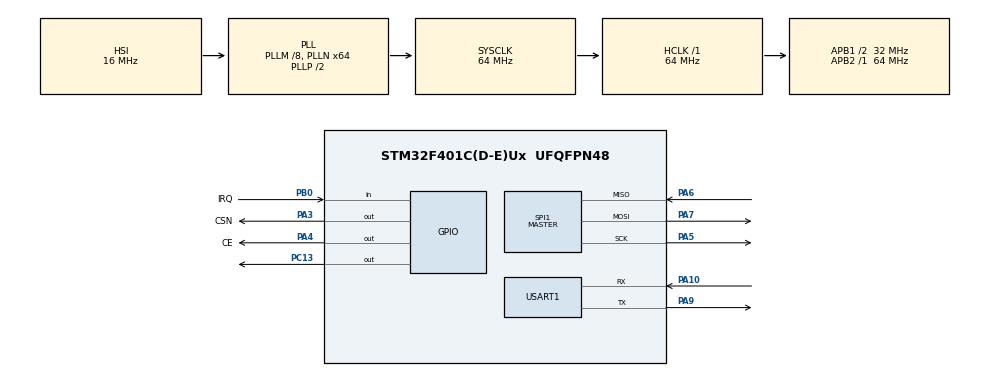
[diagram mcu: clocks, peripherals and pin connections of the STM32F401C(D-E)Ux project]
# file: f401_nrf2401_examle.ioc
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Mcu.Family=STM32F4
Mcu.Name=STM32F401C(D-E)Ux
Mcu.Package=UFQFPN48
NVIC.PriorityGroup=NVIC_PRIORITYGROUP_4
PA10.Mode=Asynchronous
PA10.Signal=USART1_RX
PA13.Mode=Serial_Wire
PA13.Signal=SYS_JTMS-SWDIO
PA14.Mode=Serial_Wire
PA14.Signal=SYS_JTCK-SWCLK
PA3.GPIO_Label=CSN
PA3.Signal=GPIO_Output
PA4.GPIO_Label=CE
PA4.Signal=GPIO_Output
PA5.Mode=Full_Duplex_Master
PA5.Signal=SPI1_SCK
PA6.Mode=Full_Duplex_Master
PA6.Signal=SPI1_MISO
PA7.Mode=Full_Duplex_Master
PA7.Signal=SPI1_MOSI
PA9.Mode=Asynchronous
PA9.Signal=USART1_TX
PB0.GPIO_Label=IRQ
PB0.Signal=GPIO_Input
PC13-ANTI_TAMP.Signal=GPIO_Output
ProjectManager.HeapSize=0x200
ProjectManager.StackSize=0x400
ProjectManager.TargetToolchain=STM32CubeIDE
RCC.48MHZClocksFreq_Value=32000000
RCC.AHBFreq_Value=64000000
RCC.APB1CLKDivider=RCC_HCLK_DIV2
RCC.APB1Freq_Value=32000000
RCC.APB1TimFreq_Value=64000000
RCC.APB2Freq_Value=64000000
RCC.APB2TimFreq_Value=64000000
RCC.CortexFreq_Value=64000000
RCC.HCLKFreq_Value=64000000
RCC.HSE_VALUE=25000000
RCC.HSI_VALUE=16000000
RCC.LSE_VALUE=32768
RCC.PLLM=8
RCC.PLLN=64
RCC.SYSCLKFreq_VALUE=64000000
RCC.SYSCLKSource=RCC_SYSCLKSOURCE_PLLCLK
RCC.VCOOutputFreq_Value=128000000
SPI1.BaudRatePrescaler=SPI_BAUDRATEPRESCALER_32
SPI1.Direction=SPI_DIRECTION_2LINES
SPI1.Mode=SPI_MODE_MASTER
SPI1.VirtualType=VM_MASTER
USART1.VirtualMode=VM_ASYNC
board=custom

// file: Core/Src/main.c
/* USER CODE BEGIN Header */
/**
 ******************************************************************************
 * @file           : main.c
 * @brief          : Main program body
 ******************************************************************************
 * @attention
 *
 * <h2><center>&copy; Copyright (c) 2023 STMicroelectronics.
 * All rights reserved.</center></h2>
 *
 * This software component is licensed by ST under BSD 3-Clause license,
 * the "License"; You may not use this file except in compliance with the
 * License. You may obtain a copy of the License at:
 *                        opensource.org/licenses/BSD-3-Clause
 *
 ******************************************************************************
 */
/* USER CODE END Header */
#include "main.h"

/* USER CODE BEGIN Includes */
#include "NRF24L01/NRF24.h"

#include <string.h>
/* USER CODE END Includes */

SPI_HandleTypeDef hspi1;

UART_HandleTypeDef huart1;

/* USER CODE BEGIN PV */
uint64_t RxpipeAddrs = 0x11223344AA;
char myRxData[50];
char myAckPayload[32] = "Ack by STMF4!";
/* USER CODE END PV */

void SystemClock_Config(void);
static void MX_GPIO_Init(void);
static void MX_SPI1_Init(void);
static void MX_USART1_UART_Init(void);

int main(void) {

	/* MCU Configuration--------------------------------------------------------*/

	/* Reset of all peripherals, Initializes the Flash interface and the Systick. */
	HAL_Init();

	/* Configure the system clock */
	SystemClock_Config();

	/* Initialize all configured peripherals */
	MX_GPIO_Init();
	MX_SPI1_Init();
	MX_USART1_UART_Init();
	/* USER CODE BEGIN 2 */
	NRF24_begin(GPIOA, GPIO_PIN_3, GPIO_PIN_4, hspi1);
	nrf24_DebugUART_Init(huart1);

	NRF24_setAutoAck(true);
	NRF24_setDataRate(RF24_250KBPS);
	NRF24_setChannel(52);
	NRF24_setPayloadSize(32);
	NRF24_openReadingPipe(1, RxpipeAddrs);
	NRF24_enableDynamicPayloads();
	NRF24_enableAckPayload();
	printRadioSettings();
	NRF24_startListening();
	/* USER CODE END 2 */

	/* Infinite loop */
	/* USER CODE BEGIN WHILE */
	while (1) {
		if (NRF24_available()) {
			NRF24_read(myRxData, 32);
			NRF24_writeAckPayload(1, myAckPayload, 32);
			myRxData[32] = '\r';
			myRxData[32 + 1] = '\n';
			HAL_UART_Transmit(&huart1, (uint8_t*) myRxData, 32 + 2, 10);
		}
	}
	/* USER CODE END WHILE */

}

void SystemClock_Config(void) {
	RCC_OscInitTypeDef RCC_OscInitStruct = { 0 };
	RCC_ClkInitTypeDef RCC_ClkInitStruct = { 0 };

	/** Configure the main internal regulator output voltage
	 */
	__HAL_RCC_PWR_CLK_ENABLE();
	__HAL_PWR_VOLTAGESCALING_CONFIG(PWR_REGULATOR_VOLTAGE_SCALE2);
	/** Initializes the RCC Oscillators according to the specified parameters
	 * in the RCC_OscInitTypeDef structure.
	 */
	RCC_OscInitStruct.OscillatorType = RCC_OSCILLATORTYPE_HSI;
	RCC_OscInitStruct.HSIState = RCC_HSI_ON;
	RCC_OscInitStruct.HSICalibrationValue = RCC_HSICALIBRATION_DEFAULT;
	RCC_OscInitStruct.PLL.PLLState = RCC_PLL_ON;
	RCC_OscInitStruct.PLL.PLLSource = RCC_PLLSOURCE_HSI;
	RCC_OscInitStruct.PLL.PLLM = 8;
	RCC_OscInitStruct.PLL.PLLN = 64;
	RCC_OscInitStruct.PLL.PLLP = RCC_PLLP_DIV2;
	RCC_OscInitStruct.PLL.PLLQ = 4;
	if (HAL_RCC_OscConfig(&RCC_OscInitStruct) != HAL_OK) {
		Error_Handler();
	}
	/** Initializes the CPU, AHB and APB buses clocks
	 */
	RCC_ClkInitStruct.ClockType = RCC_CLOCKTYPE_HCLK | RCC_CLOCKTYPE_SYSCLK
			| RCC_CLOCKTYPE_PCLK1 | RCC_CLOCKTYPE_PCLK2;
	RCC_ClkInitStruct.SYSCLKSource = RCC_SYSCLKSOURCE_PLLCLK;
	RCC_ClkInitStruct.AHBCLKDivider = RCC_SYSCLK_DIV1;
	RCC_ClkInitStruct.APB1CLKDivider = RCC_HCLK_DIV2;
	RCC_ClkInitStruct.APB2CLKDivider = RCC_HCLK_DIV1;

	if (HAL_RCC_ClockConfig(&RCC_ClkInitStruct, FLASH_LATENCY_2) != HAL_OK) {
		Error_Handler();
	}
}

static void MX_SPI1_Init(void) {

	/* SPI1 parameter configuration*/
	hspi1.Instance = SPI1;
	hspi1.Init.Mode = SPI_MODE_MASTER;
	hspi1.Init.Direction = SPI_DIRECTION_2LINES;
	hspi1.Init.DataSize = SPI_DATASIZE_8BIT;
	hspi1.Init.CLKPolarity = SPI_POLARITY_LOW;
	hspi1.Init.CLKPhase = SPI_PHASE_1EDGE;
	hspi1.Init.NSS = SPI_NSS_SOFT;
	hspi1.Init.BaudRatePrescaler = SPI_BAUDRATEPRESCALER_32;
	hspi1.Init.FirstBit = SPI_FIRSTBIT_MSB;
	hspi1.Init.TIMode = SPI_TIMODE_DISABLE;
	hspi1.Init.CRCCalculation = SPI_CRCCALCULATION_DISABLE;
	hspi1.Init.CRCPolynomial = 10;
	if (HAL_SPI_Init(&hspi1) != HAL_OK) {
		Error_Handler();
	}

}

static void MX_USART1_UART_Init(void) {

	huart1.Instance = USART1;
	huart1.Init.BaudRate = 115200;
	huart1.Init.WordLength = UART_WORDLENGTH_8B;
	huart1.Init.StopBits = UART_STOPBITS_1;
	huart1.Init.Parity = UART_PARITY_NONE;
	huart1.Init.Mode = UART_MODE_TX_RX;
	huart1.Init.HwFlowCtl = UART_HWCONTROL_NONE;
	huart1.Init.OverSampling = UART_OVERSAMPLING_16;
	if (HAL_UART_Init(&huart1) != HAL_OK) {
		Error_Handler();
	}

}

static void MX_GPIO_Init(void) {
	GPIO_InitTypeDef GPIO_InitStruct = { 0 };

	/* GPIO Ports Clock Enable */
	__HAL_RCC_GPIOC_CLK_ENABLE();
	__HAL_RCC_GPIOA_CLK_ENABLE();
	__HAL_RCC_GPIOB_CLK_ENABLE();

	/*Configure GPIO pin Output Level */
	HAL_GPIO_WritePin(GPIOC, GPIO_PIN_13, GPIO_PIN_RESET);

	/*Configure GPIO pin Output Level */
	HAL_GPIO_WritePin(GPIOA, CSN_Pin | CE_Pin, GPIO_PIN_RESET);

	/*Configure GPIO pin : PC13 */
	GPIO_InitStruct.Pin = GPIO_PIN_13;
	GPIO_InitStruct.Mode = GPIO_MODE_OUTPUT_PP;
	GPIO_InitStruct.Pull = GPIO_NOPULL;
	GPIO_InitStruct.Speed = GPIO_SPEED_FREQ_LOW;
	HAL_GPIO_Init(GPIOC, &GPIO_InitStruct);

	/*Configure GPIO pins : CSN_Pin CE_Pin */
	GPIO_InitStruct.Pin = CSN_Pin | CE_Pin;
	GPIO_InitStruct.Mode = GPIO_MODE_OUTPUT_PP;
	GPIO_InitStruct.Pull = GPIO_NOPULL;
	GPIO_InitStruct.Speed = GPIO_SPEED_FREQ_LOW;
	HAL_GPIO_Init(GPIOA, &GPIO_InitStruct);

	/*Configure GPIO pin : IRQ_Pin */
	GPIO_InitStruct.Pin = IRQ_Pin;
	GPIO_InitStruct.Mode = GPIO_MODE_INPUT;
	GPIO_InitStruct.Pull = GPIO_NOPULL;
	HAL_GPIO_Init(IRQ_GPIO_Port, &GPIO_InitStruct);

}

void Error_Handler(void) {
	__disable_irq();
	while (1) {
	}
}

/************************ (C) COPYRIGHT STMicroelectronics *****END OF FILE****/
